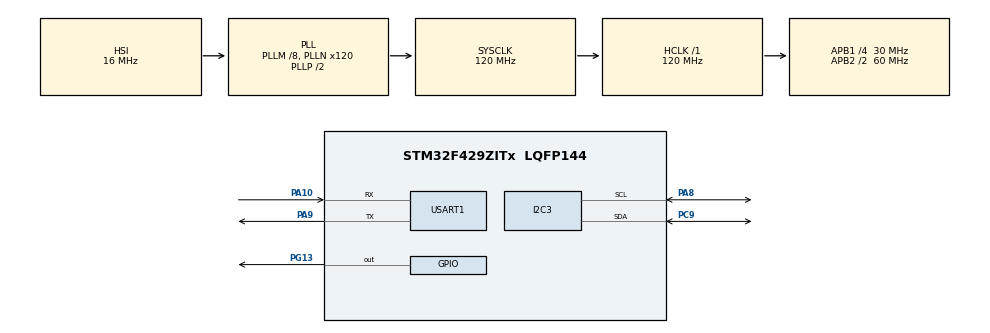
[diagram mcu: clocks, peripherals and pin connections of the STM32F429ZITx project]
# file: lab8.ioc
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Mcu.Family=STM32F4
Mcu.Name=STM32F429ZITx
Mcu.Package=LQFP144
NVIC.PriorityGroup=NVIC_PRIORITYGROUP_4
PA10.Mode=Asynchronous
PA10.Signal=USART1_RX
PA8.Mode=I2C
PA8.Signal=I2C3_SCL
PA9.Mode=Asynchronous
PA9.Signal=USART1_TX
PC9.Mode=I2C
PC9.Signal=I2C3_SDA
PG13.Signal=GPIO_Output
ProjectManager.HeapSize=0x200
ProjectManager.StackSize=0x400
ProjectManager.TargetToolchain=STM32CubeIDE
RCC.48MHZClocksFreq_Value=60000000
RCC.AHBFreq_Value=120000000
RCC.APB1CLKDivider=RCC_HCLK_DIV4
RCC.APB1Freq_Value=30000000
RCC.APB1TimFreq_Value=60000000
RCC.APB2CLKDivider=RCC_HCLK_DIV2
RCC.APB2Freq_Value=60000000
RCC.APB2TimFreq_Value=120000000
RCC.CortexFreq_Value=120000000
RCC.HCLKFreq_Value=120000000
RCC.HSE_VALUE=25000000
RCC.HSI_VALUE=16000000
RCC.LSE_VALUE=32768
RCC.PLLM=8
RCC.PLLN=120
RCC.SYSCLKFreq_VALUE=120000000
RCC.SYSCLKSource=RCC_SYSCLKSOURCE_PLLCLK
RCC.VCOOutputFreq_Value=240000000
USART1.VirtualMode=VM_ASYNC
board=custom

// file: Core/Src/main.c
/* USER CODE BEGIN Header */
/**
  ******************************************************************************
  * @file           : main.c
  * @brief          : Main program body
  ******************************************************************************
  * @attention
  *
  * <h2><center>&copy; Copyright (c) 2021 STMicroelectronics.
  * All rights reserved.</center></h2>
  *
  * This software component is licensed by ST under BSD 3-Clause license,
  * the "License"; You may not use this file except in compliance with the
  * License. You may obtain a copy of the License at:
  *                        opensource.org/licenses/BSD-3-Clause
  *
  ******************************************************************************
  */
/* USER CODE END Header */
#include "main.h"
#include "i2c.h"
#include "usart.h"
#include "gpio.h"

/* USER CODE BEGIN Includes */
#include "string.h"
/* USER CODE END Includes */

/* USER CODE BEGIN PV */
float h=30.0,t=40.0;

uint8_t Buffer[25] = {0};
uint8_t Space[] = " - ";
uint8_t StartMSG[] = "Starting I2C Scanning: \r\n";
uint8_t EndMSG[] = "Done! \r\n\r\n";
/* USER CODE END PV */

void SystemClock_Config(void);
/* USER CODE BEGIN PFP */
uint16_t CRC16_2(uint8_t *, uint8_t);
/* USER CODE END PFP */

int main(void)
{
  /* USER CODE BEGIN 1 */
	char str[50];
	uint8_t cmdBuffer[3] = { 0x03, 0x00, 0x04 };
	uint8_t dataBuffer[8];

	uint8_t i = 0, ret;
  /* USER CODE END 1 */

  /* MCU Configuration--------------------------------------------------------*/

  /* Reset of all peripherals, Initializes the Flash interface and the Systick. */
  HAL_Init();

  /* Configure the system clock */
  SystemClock_Config();

  /* Initialize all configured peripherals */
  MX_GPIO_Init();
  MX_I2C3_Init();
  MX_USART1_UART_Init();
  /* USER CODE BEGIN 2 */
  HAL_UART_Transmit(&huart1, StartMSG, sizeof(StartMSG), 10000);
  for(i=1; i<128; i++)
  {
      ret = HAL_I2C_IsDeviceReady(&hi2c3, (uint16_t)(i<<1), 3, 5);
      if (ret != HAL_OK) /* No ACK Received At That Address */
      {
          HAL_UART_Transmit(&huart1, Space, sizeof(Space), 10000);
      }
      else if(ret == HAL_OK)
      {
          sprintf(Buffer, "0x%X", i);
          HAL_UART_Transmit(&huart1, Buffer, sizeof(Buffer), 10000);
      }
  }
  HAL_UART_Transmit(&huart1, EndMSG, sizeof(EndMSG), 10000);

  sprintf(str, "\n\rAM2320 I2C DEMO Starting ...\n\r");
  HAL_UART_Transmit(&huart1, (uint8_t*) str, strlen(str), 200);
//  cmdBuffer[0] = 0x03;
//  cmdBuffer[1] = 0x00;
//  cmdBuffer[2] = 0x04;
  /* USER CODE END 2 */

  /* Infinite loop */
  while (1)
  {

    /* USER CODE BEGIN 3 */
	  sprintf(str, "Temperature = %4.1f\tHumidity = %4.1f\n\r", t, h);
	  while(__HAL_UART_GET_FLAG(&huart1,UART_FLAG_TC)==RESET){}
	  HAL_UART_Transmit(&huart1, (uint8_t*) str, strlen(str), 200);

	  HAL_Delay(5000);
	  HAL_I2C_Master_Transmit(&hi2c3, 0x5C<<1, 0x00, 0, HAL_MAX_DELAY);
	  HAL_Delay(1);
	  HAL_I2C_Master_Transmit(&hi2c3, 0x5C<<1, cmdBuffer, 3, HAL_MAX_DELAY);
	  HAL_Delay(1);
	  HAL_I2C_Master_Receive(&hi2c3, 0x5C<<1,dataBuffer, 8, HAL_MAX_DELAY);
	  uint16_t Rcrc = dataBuffer[7] << 8;
	  Rcrc += dataBuffer[6];
	  if(Rcrc == CRC16_2(dataBuffer, 6)){
		  uint16_t temperature = ((dataBuffer[4] & 0x7F) << 8) + dataBuffer[5];
		  t =  temperature / 10.0;
		  t = (((dataBuffer[4] & 0x80) >> 7)==1)?(t*(-1)) :t;

		  uint16_t humidity = (dataBuffer[2] << 8) + dataBuffer[3];
		  h = humidity / 10.0;
  }
  }
  /* USER CODE END 3 */
}

void SystemClock_Config(void)
{
  RCC_OscInitTypeDef RCC_OscInitStruct = {0};
  RCC_ClkInitTypeDef RCC_ClkInitStruct = {0};

  /** Configure the main internal regulator output voltage
  */
  __HAL_RCC_PWR_CLK_ENABLE();
  __HAL_PWR_VOLTAGESCALING_CONFIG(PWR_REGULATOR_VOLTAGE_SCALE3);
  /** Initializes the RCC Oscillators according to the specified parameters
  * in the RCC_OscInitTypeDef structure.
  */
  RCC_OscInitStruct.OscillatorType = RCC_OSCILLATORTYPE_HSI;
  RCC_OscInitStruct.HSIState = RCC_HSI_ON;
  RCC_OscInitStruct.HSICalibrationValue = RCC_HSICALIBRATION_DEFAULT;
  RCC_OscInitStruct.PLL.PLLState = RCC_PLL_ON;
  RCC_OscInitStruct.PLL.PLLSource = RCC_PLLSOURCE_HSI;
  RCC_OscInitStruct.PLL.PLLM = 8;
  RCC_OscInitStruct.PLL.PLLN = 120;
  RCC_OscInitStruct.PLL.PLLP = RCC_PLLP_DIV2;
  RCC_OscInitStruct.PLL.PLLQ = 4;
  if (HAL_RCC_OscConfig(&RCC_OscInitStruct) != HAL_OK)
  {
    Error_Handler();
  }
  /** Initializes the CPU, AHB and APB buses clocks
  */
  RCC_ClkInitStruct.ClockType = RCC_CLOCKTYPE_HCLK|RCC_CLOCKTYPE_SYSCLK
                              |RCC_CLOCKTYPE_PCLK1|RCC_CLOCKTYPE_PCLK2;
  RCC_ClkInitStruct.SYSCLKSource = RCC_SYSCLKSOURCE_PLLCLK;
  RCC_ClkInitStruct.AHBCLKDivider = RCC_SYSCLK_DIV1;
  RCC_ClkInitStruct.APB1CLKDivider = RCC_HCLK_DIV4;
  RCC_ClkInitStruct.APB2CLKDivider = RCC_HCLK_DIV2;

  if (HAL_RCC_ClockConfig(&RCC_ClkInitStruct, FLASH_LATENCY_3) != HAL_OK)
  {
    Error_Handler();
  }
}

/* USER CODE BEGIN 4 */
uint16_t CRC16_2(uint8_t *ptr, uint8_t length)
{
	uint16_t crc = 0xFFFF;
	uint8_t s = 0x00;

	while(length--){
		crc ^= *ptr++;
		for(s = 0;s<8;s++){
			if((crc & 0x01) != 0){
				crc >> 1;
				crc ^= 0xA001;
			} else crc >>= 1;
		}
	}
	return crc;
}
/* USER CODE END 4 */

void Error_Handler(void)
{
  __disable_irq();
  while (1)
  {
  }
}

/************************ (C) COPYRIGHT STMicroelectronics *****END OF FILE****/
